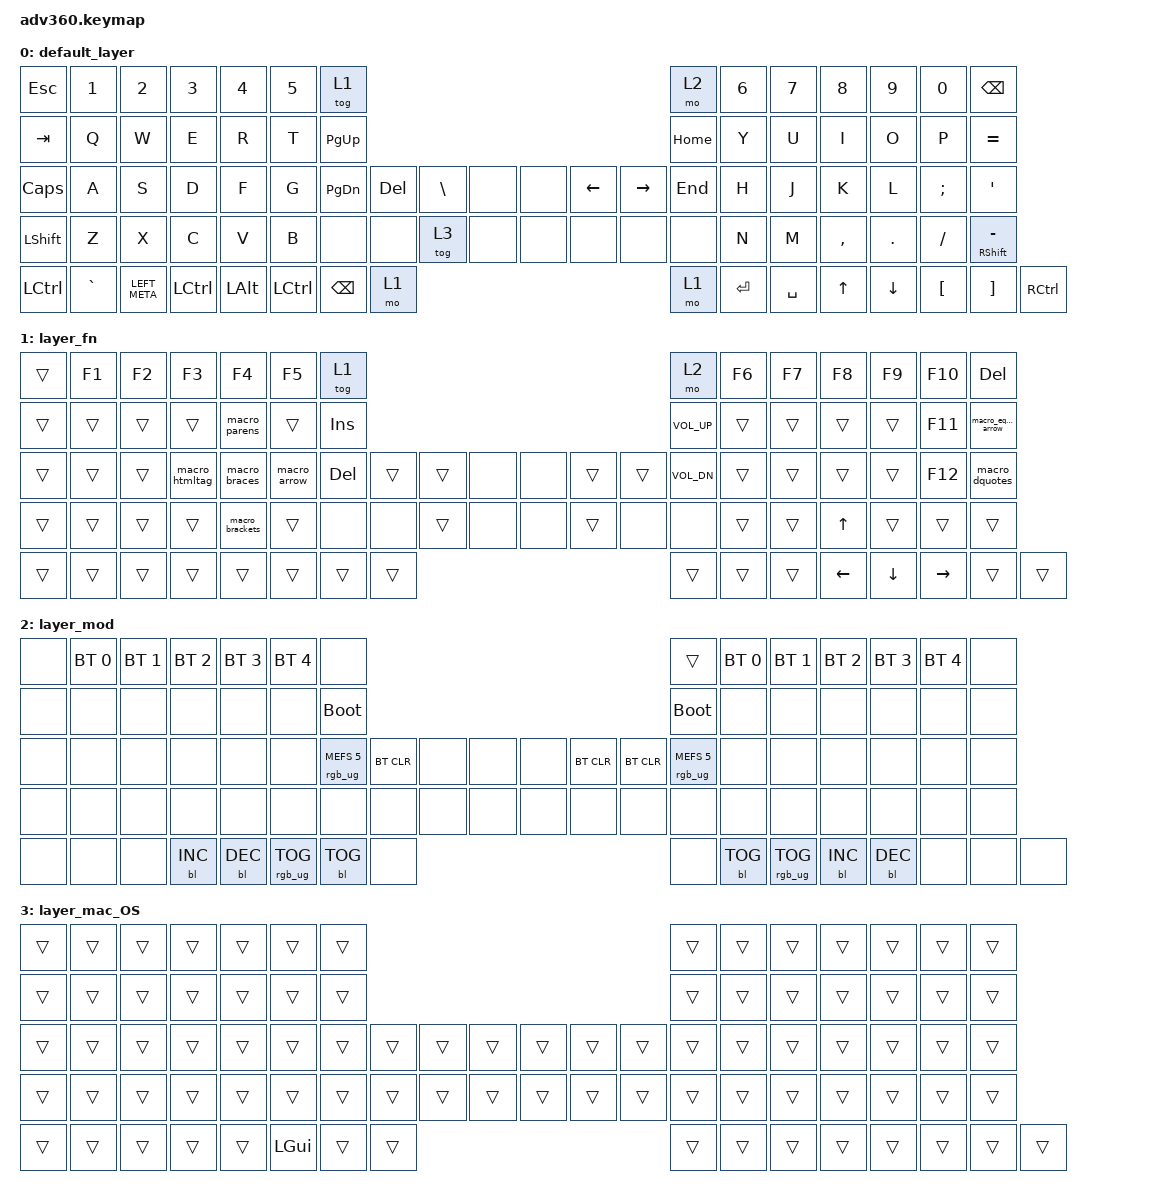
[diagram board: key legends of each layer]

/*
 * Copyright (c) 2020 The ZMK Contributors
 *
 * SPDX-License-Identifier: MIT
 */


/* THIS FILE WAS GENERATED!
 *
 * This file was generated automatically. You may or may not want to
 * edit it directly.
 */

#include <behaviors.dtsi>
#include <dt-bindings/zmk/keys.h>
#include <dt-bindings/zmk/bt.h>
#include <dt-bindings/zmk/rgb.h>
#include <dt-bindings/zmk/backlight.h>

/ {
  behaviors {
    #include "macros.dtsi"

    hm: homerow_mods {
        compatible = "zmk,behavior-hold-tap";
        label = "HOMEROW_MODS";
        #binding-cells = <2>;
        tapping-term-ms = <200>;
        quick_tap_ms = <175>;
        flavor = "tap-preferred";
        bindings = <&kp>, <&kp>;
    };
  };

    keymap {
        compatible = "zmk,keymap";


        default_layer {
            bindings = <
   &kp ESC     &kp N1         &kp N2     &kp N3    &kp N4  &kp N5               &tog 1                                                                                &mo 2  &kp N6  &kp N7     &kp N8    &kp N9    &kp N0    &kp BACKSPACE
   &kp TAB      &kp Q          &kp W      &kp E     &kp R   &kp T            &kp PG_UP                                                                             &kp HOME   &kp Y   &kp U      &kp I     &kp O     &kp P        &kp EQUAL
  &kp CAPS      &kp A          &kp S      &kp D     &kp F   &kp G            &kp PG_DN   &kp DEL  &kp BACKSLASH   &none   &none  &kp LEFT_ARROW  &kp RIGHT_ARROW    &kp END   &kp H   &kp J      &kp K     &kp L  &kp SEMI          &kp SQT
 &kp LSHFT      &kp Z          &kp X      &kp C     &kp V   &kp B                &none     &none         &tog 3   &none   &none           &none            &none      &none   &kp N   &kp M  &kp COMMA   &kp DOT  &kp FSLH  &mt RSHFT MINUS
 &kp LCTRL  &kp GRAVE  &kp LEFT_META  &kp LCTRL  &kp LALT                    &kp LCTRL  &kp BSPC          &mo 1                           &mo 1        &kp ENTER  &kp SPACE          &kp UP   &kp DOWN  &kp LBKT  &kp RBKT        &kp RCTRL
            >;
        };

        layer_fn {
            bindings = <
 &trans  &kp F1  &kp F2          &kp F3           &kp F4        &kp F5             &tog 1                                                         &mo 2  &kp F6          &kp F7          &kp F8           &kp F9  &kp F10             &kp DEL
 &trans  &trans  &trans          &trans    &macro_parens        &trans            &kp INS                                                  &kp C_VOL_UP  &trans          &trans          &trans           &trans  &kp F11  &macro_equal_arrow
 &trans  &trans  &trans  &macro_htmltag    &macro_braces  &macro_arrow            &kp DEL  &trans  &trans   &none   &none  &trans  &trans  &kp C_VOL_DN  &trans          &trans          &trans           &trans  &kp F12      &macro_dquotes
 &trans  &trans  &trans          &trans  &macro_brackets        &trans              &none   &none  &trans   &none   &none  &trans   &none         &none  &trans          &trans    &kp UP_ARROW           &trans   &trans              &trans
 &trans  &trans  &trans          &trans           &trans                           &trans  &trans  &trans                  &trans  &trans        &trans          &kp LEFT_ARROW  &kp DOWN_ARROW  &kp RIGHT_ARROW   &trans              &trans
            >;
        };

        layer_mod {
            bindings = <
  &none  &bt BT_SEL 0  &bt BT_SEL 1  &bt BT_SEL 2  &bt BT_SEL 3  &bt BT_SEL 4                             &none                                                                              &trans  &bt BT_SEL 0  &bt BT_SEL 1  &bt BT_SEL 2  &bt BT_SEL 3  &bt BT_SEL 4   &none
  &none         &none         &none         &none         &none         &none                       &bootloader                                                                         &bootloader         &none         &none         &none         &none         &none   &none
  &none         &none         &none         &none         &none         &none            &rgb_ug RGB_MEFS_CMD 5  &bt BT_CLR   &none   &none   &none  &bt BT_CLR  &bt BT_CLR  &rgb_ug RGB_MEFS_CMD 5         &none         &none         &none         &none         &none   &none
  &none         &none         &none         &none         &none         &none                             &none       &none   &none   &none   &none       &none       &none                   &none         &none         &none         &none         &none         &none   &none
  &none         &none         &none    &bl BL_INC    &bl BL_DEC                                 &rgb_ug RGB_TOG  &bl BL_TOG   &none                       &none  &bl BL_TOG         &rgb_ug RGB_TOG                  &bl BL_INC    &bl BL_DEC         &none         &none   &none
            >;
        };

        layer_mac_OS {
            bindings = <
 &trans  &trans  &trans  &trans  &trans  &trans              &trans                                                  &trans  &trans  &trans  &trans  &trans  &trans  &trans
 &trans  &trans  &trans  &trans  &trans  &trans              &trans                                                  &trans  &trans  &trans  &trans  &trans  &trans  &trans
 &trans  &trans  &trans  &trans  &trans  &trans              &trans  &trans  &trans  &trans  &trans  &trans  &trans  &trans  &trans  &trans  &trans  &trans  &trans  &trans
 &trans  &trans  &trans  &trans  &trans  &trans              &trans  &trans  &trans  &trans  &trans  &trans  &trans  &trans  &trans  &trans  &trans  &trans  &trans  &trans
 &trans  &trans  &trans  &trans  &trans                    &kp LGUI  &trans  &trans                  &trans  &trans  &trans          &trans  &trans  &trans  &trans  &trans
            >;
        };

    };
};
